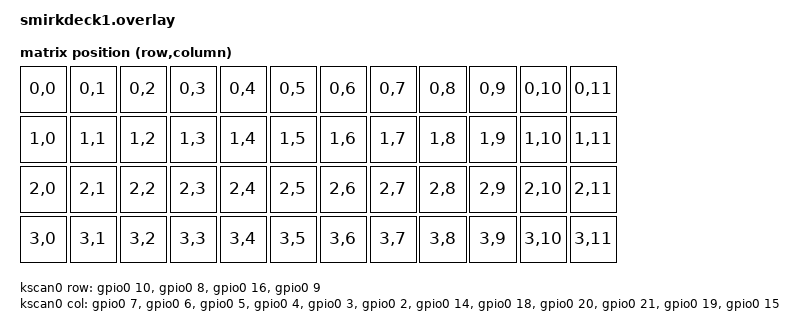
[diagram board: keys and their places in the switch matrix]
/ {
    chosen {
        zmk,kscan = &kscan0;
        zmk,matrix_transform = &default_transform;
    };

    default_transform: keymap_transform_0 {
        compatible = "zmk,matrix-transform";
        rows = <4>;
        columns = <12>;
        map = <
            RC(0,0)  RC(0,1)  RC(0,2)  RC(0,3)  RC(0,4)  RC(0,5)  RC(0,6)  RC(0,7)  RC(0,8)  RC(0,9)  RC(0,10) RC(0,11)
            RC(1,0)  RC(1,1)  RC(1,2)  RC(1,3)  RC(1,4)  RC(1,5)  RC(1,6)  RC(1,7)  RC(1,8)  RC(1,9)  RC(1,10) RC(1,11)
            RC(2,0)  RC(2,1)  RC(2,2)  RC(2,3)  RC(2,4)  RC(2,5)  RC(2,6)  RC(2,7)  RC(2,8)  RC(2,9)  RC(2,10) RC(2,11)
            RC(3,0)  RC(3,1)  RC(3,2)  RC(3,3)  RC(3,4)  RC(3,5)  RC(3,6)  RC(3,7)  RC(3,8)  RC(3,9)  RC(3,10) RC(3,11)
        >;
    };




    kscan0: kscan0 {
        compatible = "zmk,kscan-gpio-matrix";

        diode-direction = "col2row";

        col-gpios
            = <&gpio0 7  (GPIO_ACTIVE_HIGH | GPIO_PULL_UP)>    // D7
            , <&gpio0 6  (GPIO_ACTIVE_HIGH | GPIO_PULL_UP)>    // D6
            , <&gpio0 5  (GPIO_ACTIVE_HIGH | GPIO_PULL_UP)>    // D5
            , <&gpio0 4  (GPIO_ACTIVE_HIGH | GPIO_PULL_UP)>    // D4
            , <&gpio0 3  (GPIO_ACTIVE_HIGH | GPIO_PULL_UP)>    // D3
            , <&gpio0 2  (GPIO_ACTIVE_HIGH | GPIO_PULL_UP)>    // D2
            , <&gpio0 14 (GPIO_ACTIVE_HIGH | GPIO_PULL_UP)>    // D14
            , <&gpio0 18 (GPIO_ACTIVE_HIGH | GPIO_PULL_UP)>    // D18
            , <&gpio0 20 (GPIO_ACTIVE_HIGH | GPIO_PULL_UP)>    // D20
            , <&gpio0 21 (GPIO_ACTIVE_HIGH | GPIO_PULL_UP)>    // D21
            , <&gpio0 19 (GPIO_ACTIVE_HIGH | GPIO_PULL_UP)>    // D19
            , <&gpio0 15 (GPIO_ACTIVE_HIGH | GPIO_PULL_UP)>    // D15
            ;

        row-gpios
            = <&gpio0 10 (GPIO_ACTIVE_HIGH | GPIO_PULL_DOWN)>  // D10
            , <&gpio0 8  (GPIO_ACTIVE_HIGH | GPIO_PULL_DOWN)>  // D8
            , <&gpio0 16 (GPIO_ACTIVE_HIGH | GPIO_PULL_DOWN)>  // D16
            , <&gpio0 9  (GPIO_ACTIVE_HIGH | GPIO_PULL_DOWN)>  // D9
            ;
    };
};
